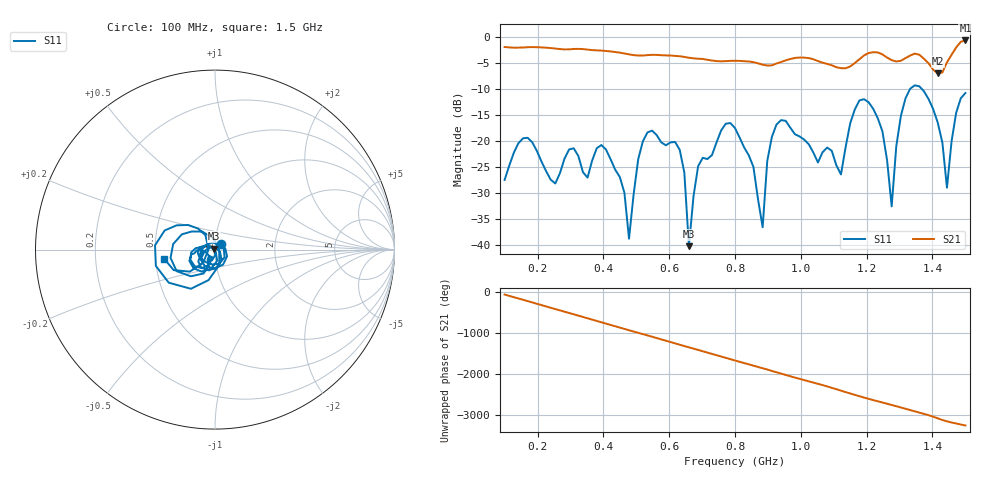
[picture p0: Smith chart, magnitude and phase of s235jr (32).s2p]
! NanoVNA-App
! Date: 2025-09-25 15:04:24
! Start: 100MHz Stop: 1,5GHz Points: 101
! S-Parameter data: F S11 S21 S12 S22
# Hz S RI R 50
!  Frequency  S11_Real  S11_Imag  S21_Real  S21_Imag  S12_Real  S12_Imag  S22_Real  S22_Imag
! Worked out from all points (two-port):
!   101 points, 100 MHz to 1.5 GHz, reference 50 ohm
!   highest |S21| = -0.70 dB at 1.5 GHz (marker M1); lowest = -7.0 dB at 1.416 GHz (marker M2)
!   |S21| within 3 dB of the highest: start of sweep to 625.7 MHz; 1.19 GHz to 1.255 GHz (65.83 MHz wide, 5.38 % of centre) (the widest 2 of 4)
!   lowest |S11| = -40.2 dB at 660 MHz (marker M3), VSWR 1.02, Z = 49.2 + j0.57 ohm
!   |S11| at or under -10 dB: start of sweep to 1.332 GHz; 1.367 GHz to end of sweep
!   S12 and S22 are empty: the file has one direction only
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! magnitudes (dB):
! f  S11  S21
! 100 MHz  -27.5  -2.0
! 170 MHz  -19.4  -2.0
! 338 MHz  -26.0  -2.4
! 408 MHz  -21.6  -2.7
! 478 MHz  -38.8  -3.4
! 520 MHz  -20.1  -3.6
! 576 MHz  -20.3  -3.5
! 632 MHz  -21.7  -3.7
! 660 MHz  -40.2  -4.0
! 688 MHz  -24.8  -4.2
! 800 MHz  -17.5  -4.6
! 884 MHz  -36.6  -5.4
! 926 MHz  -16.9  -5.1
! 1.038 GHz  -22.2  -4.3
! 1.122 GHz  -26.4  -6.0
! 1.206 GHz  -12.6  -3.1
! 1.248 GHz  -18.2  -3.4
! 1.276 GHz  -32.6  -4.5
! 1.332 GHz  -10.0  -3.6
! 1.416 GHz  -16.5  -7.0
! 1.444 GHz  -29.0  -4.9
! 1.5 GHz  -10.8  -0.7
